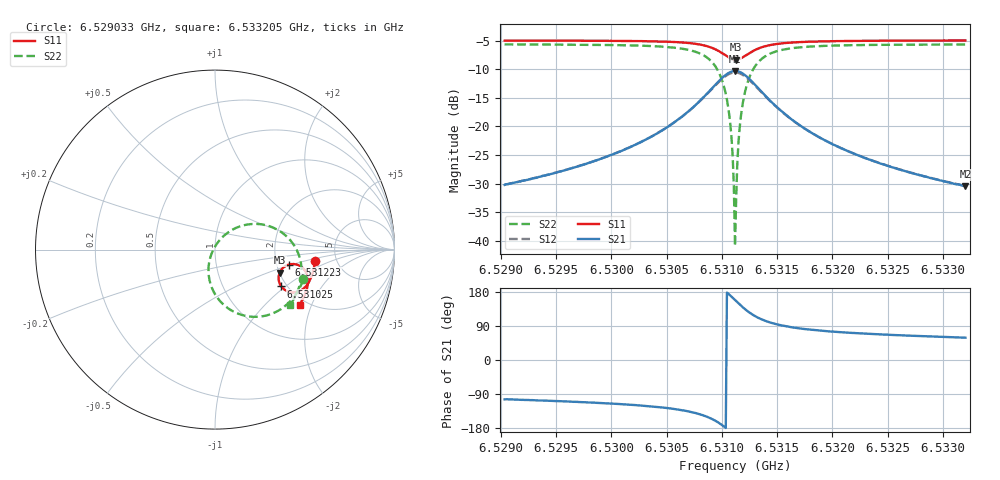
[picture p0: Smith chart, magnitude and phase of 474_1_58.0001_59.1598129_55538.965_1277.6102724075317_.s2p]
#  HZ  S  RI  R  50.00
! Rohde & Schwarz Vector Network Analyzer
! Rohde-Schwarz,ZNB20-2Port,1311601062101988,3.16
! Created: UTC 3/21/2024, 1:11:29 AM
! freq[Hz]  re:S11  im:S11  re:S21  im:S21  re:S12  im:S12  re:S22  im:S22
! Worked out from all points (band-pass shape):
!   401 points, 6.529033 GHz to 6.533205 GHz, reference 50 ohm
!   highest |S21| = -10.33 dB at 6.531119 GHz (marker M1); lowest = -30.5 dB at 6.533205 GHz (marker M2)
!   |S21| within 3 dB of the highest: 6.530912 GHz to 6.531329 GHz (417.3 kHz wide, 0.00639 % of centre)
!   lowest |S11| = -8.3 dB at 6.531129 GHz (marker M3), VSWR 2.24, Z = 100 - j30.2 ohm
!   |S11| at or under -10 dB: nowhere
!   |S22| runs from -40.9 to -5.7 dB; largest |S21 - S12| = 0.012
!   S11 on the Smith chart (normalised r, x): 6.529033 GHz: 3.43, -0.62; 6.531025 GHz: 1.87, -0.93; 6.531223 GHz: 2.34, -0.47; 6.533205 GHz: 1.82, -1.64
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6.5290329e9  0.5575 -0.0623  -0.00734 -0.0299  -0.00781 -0.03  0.4927 -0.1659
6.5297317e9  0.5468 -0.1203  -0.0164 -0.0427  -0.0175 -0.0423  0.462 -0.2308
6.5304305e9  0.5183 -0.189  -0.05 -0.0732  -0.052 -0.0719  0.3813 -0.3219
6.5306704e9  0.4912 -0.2187  -0.0894 -0.0925  -0.0921 -0.0894  0.3014 -0.3626
6.5308477e9  0.4478 -0.2377  -0.1567 -0.0987  -0.1591 -0.0924  0.1763 -0.3704
6.530952e9  0.4035 -0.2322  -0.2255 -0.0725  -0.2249 -0.0634  0.0591 -0.3163
6.531025e9  0.3693 -0.2052  -0.2763 -0.0146  -0.2707 -0.00507  -0.0184 -0.2106
6.5310667e9  0.3566 -0.1777  -0.2921 0.0377  -0.2835 0.0455  -0.0364 -0.121
6.5310876e9  0.3544 -0.1613  -0.2928 0.0675  -0.2831 0.0737  -0.0328 -0.0718
6.531098e9  0.3545 -0.1531  -0.2912 0.0825  -0.2808 0.088  -0.0272 -0.0471
6.5311084e9  0.3557 -0.1446  -0.2877 0.0977  -0.2773 0.1021  -0.0192 -0.0228
6.5311189e9  0.3576 -0.1363  -0.2828 0.1124  -0.2721 0.1158  -0.00896 0.000484
6.5311293e9  0.3606 -0.1283  -0.2764 0.1265  -0.2658 0.1291  0.00363 0.0228
6.5311397e9  0.3642 -0.1206  -0.2689 0.1401  -0.2582 0.1416  0.0185 0.0437
6.5311501e9  0.3687 -0.1136  -0.2598 0.1525  -0.2496 0.153  0.0349 0.063
6.531171e9  0.3796 -0.1013  -0.2391 0.1742  -0.2296 0.1733  0.0723 0.0953
6.5312232e9  0.4125 -0.083  -0.1793 0.2062  -0.1725 0.2033  0.1766 0.1391
6.5312962e9  0.4553 -0.0832  -0.1041 0.2085  -0.1009 0.2055  0.3033 0.1303
6.5314005e9  0.4923 -0.1058  -0.0396 0.1777  -0.038 0.1761  0.4088 0.0642
6.5318177e9  0.5176 -0.1858  0.0159 0.0856  0.0168 0.0853  0.4825 -0.128
6.5325165e9  0.4981 -0.257  0.0177 0.041  0.0186 0.0407  0.4544 -0.2449
6.5332048e9  0.4711 -0.3082  0.0155 0.0256  0.0161 0.0255  0.4197 -0.3062
